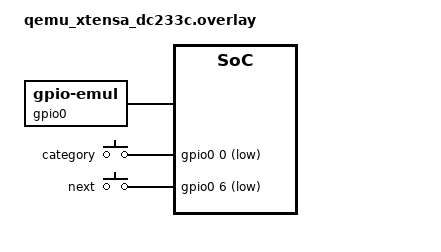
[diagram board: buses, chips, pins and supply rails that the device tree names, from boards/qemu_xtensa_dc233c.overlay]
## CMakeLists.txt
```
cmake_minimum_required(VERSION 3.20.0)

find_package(Zephyr REQUIRED HINTS $ENV{ZEPHYR_BASE})
project(cicala_input LANGUAGES C CXX)

set(CICALA_APP ${CMAKE_CURRENT_SOURCE_DIR}/../../app)

target_sources(app PRIVATE
    src/main.c
    ${CICALA_APP}/src/channels.c
    ${CICALA_APP}/src/input.c
)

target_include_directories(app PRIVATE ${CICALA_APP}/include)
```

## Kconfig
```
# Use the application's input timing.

mainmenu "cicala input tests"

rsource "../../Kconfig.policy"

source "Kconfig.zephyr"
```

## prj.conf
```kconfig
CONFIG_ZTEST=y

CONFIG_CPP=y
CONFIG_STD_CPP17=y
CONFIG_CPP_EXCEPTIONS=n
CONFIG_CPP_RTTI=n

CONFIG_LOG=y
CONFIG_LOG_MODE_IMMEDIATE=y
CONFIG_ASSERT=y

CONFIG_GPIO=y

CONFIG_INPUT=y
CONFIG_INPUT_MODE_SYNCHRONOUS=y

CONFIG_ZBUS=y
CONFIG_ZBUS_CHANNEL_NAME=y
CONFIG_ZBUS_MSG_SUBSCRIBER=y
CONFIG_ZBUS_MSG_SUBSCRIBER_BUF_ALLOC_STATIC=y
CONFIG_ZBUS_MSG_SUBSCRIBER_NET_BUF_STATIC_DATA_SIZE=16
CONFIG_ZBUS_RUNTIME_OBSERVERS=n

CONFIG_ZTEST_STACK_SIZE=4096
```

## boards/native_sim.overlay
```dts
#include <zephyr/dt-bindings/input/input-event-codes.h>

/ {
    aliases {
        cicala-category = &cicala_category;
        cicala-next = &cicala_next;
    };

    cicala_buttons: cicala-buttons {
        compatible = "gpio-keys";
        debounce-interval-ms = <30>;
        cicala_category: category { gpios = <&gpio0 0 GPIO_ACTIVE_LOW>; zephyr,code = <INPUT_KEY_MENU>; label = "category"; };
        cicala_next: next { gpios = <&gpio0 6 GPIO_ACTIVE_LOW>; zephyr,code = <INPUT_KEY_ENTER>; label = "next"; };
    };
};
```

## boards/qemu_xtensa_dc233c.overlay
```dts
#include <zephyr/dt-bindings/gpio/gpio.h>
#include <zephyr/dt-bindings/input/input-event-codes.h>

/ {
    aliases {
        cicala-category = &cicala_category;
        cicala-next = &cicala_next;
    };

    gpio0: gpio_emul {
        compatible = "zephyr,gpio-emul";
        gpio-controller;
        #gpio-cells = <2>;
        ngpios = <32>;
        rising-edge;
        falling-edge;
        high-level;
        low-level;
    };

    cicala_buttons: cicala-buttons {
        compatible = "gpio-keys";
        debounce-interval-ms = <30>;
        cicala_category: category { gpios = <&gpio0 0 GPIO_ACTIVE_LOW>; zephyr,code = <INPUT_KEY_MENU>; label = "category"; };
        cicala_next: next { gpios = <&gpio0 6 GPIO_ACTIVE_LOW>; zephyr,code = <INPUT_KEY_ENTER>; label = "next"; };
    };
};
```

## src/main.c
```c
#include <zephyr/drivers/gpio.h>
#include <zephyr/drivers/gpio/gpio_emul.h>
#include <zephyr/kernel.h>
#include <zephyr/ztest.h>

#include "channels.h"
#include "input.h"

static const struct gpio_dt_spec category = GPIO_DT_SPEC_GET(DT_ALIAS(cicala_category), gpios);
static const struct gpio_dt_spec next_button = GPIO_DT_SPEC_GET(DT_ALIAS(cicala_next), gpios);

#define PRESS_WAIT K_MSEC(CONFIG_CICALA_BUTTON_DEBOUNCE_MS + 150)

static int category_publishes;
static int next_publishes;
static struct cicala_filters_msg last_category;
static struct cicala_next_msg last_next;

static void observe(const struct zbus_channel *chan)
{
    if (chan == &chan_filters) {
        category_publishes++;
        last_category = *(const struct cicala_filters_msg *) zbus_chan_const_msg(chan);
    } else if (chan == &chan_next) {
        next_publishes++;
        last_next = *(const struct cicala_next_msg *) zbus_chan_const_msg(chan);
    }
}

ZBUS_LISTENER_DEFINE(test_obs, observe);
ZBUS_CHAN_ADD_OBS(chan_filters, test_obs, 4);
ZBUS_CHAN_ADD_OBS(chan_next, test_obs, 4);

static void press(const struct gpio_dt_spec *button, bool down)
{
    zassert_ok(gpio_emul_input_set(button->port, button->pin, down ? 0 : 1));
}

static void tap(const struct gpio_dt_spec *button, int hold_ms)
{
    press(button, true);
    k_sleep(K_MSEC(hold_ms));
    press(button, false);
    k_sleep(PRESS_WAIT);
}

static void *suite_setup(void)
{
    press(&category, false);
    press(&next_button, false);
    k_sleep(PRESS_WAIT);

    zassert_ok(cicala_input_init());

    return NULL;
}

static void before_each(void *fixture)
{
    ARG_UNUSED(fixture);

    category_publishes = 0;
    next_publishes = 0;
}

ZTEST_SUITE(cicala_input, NULL, suite_setup, before_each, NULL, NULL);

ZTEST(cicala_input, test_one_category_press_is_one_event)
{
    tap(&category, 60);

    zassert_equal(category_publishes, 1, "one press is one event");
    zassert_equal(next_publishes, 0, "and it must not look like Next");
}

ZTEST(cicala_input, test_one_next_press_is_one_event)
{
    tap(&next_button, 60);

    zassert_equal(next_publishes, 1, "one press is one event");
    zassert_equal(category_publishes, 0, "and it must not look like Category");
}

ZTEST(cicala_input, test_a_press_is_reported_on_release)
{
    press(&next_button, true);
    k_sleep(PRESS_WAIT);

    zassert_equal(next_publishes, 0, "held down is not yet a press");

    press(&next_button, false);
    k_sleep(PRESS_WAIT);

    zassert_equal(next_publishes, 1);
    zassert_true(last_next.duration_ms >= (uint32_t) CONFIG_CICALA_BUTTON_DEBOUNCE_MS,
                 "the reported duration should cover the hold, got %u ms", last_next.duration_ms);
}

ZTEST(cicala_input, test_a_long_press_is_still_one_event)
{
    tap(&next_button, 900);

    zassert_equal(next_publishes, 1, "long press is Next, same as a short one");
}

ZTEST(cicala_input, test_the_buttons_are_independent)
{
    press(&category, true);
    k_sleep(PRESS_WAIT);

    tap(&next_button, 60);

    press(&category, false);
    k_sleep(PRESS_WAIT);

    zassert_equal(next_publishes, 1, "Next reports while Category is held");
    zassert_equal(category_publishes, 1, "and Category reports when it is let go");
    zassert_true(last_category.duration_ms > 0);
}
```
